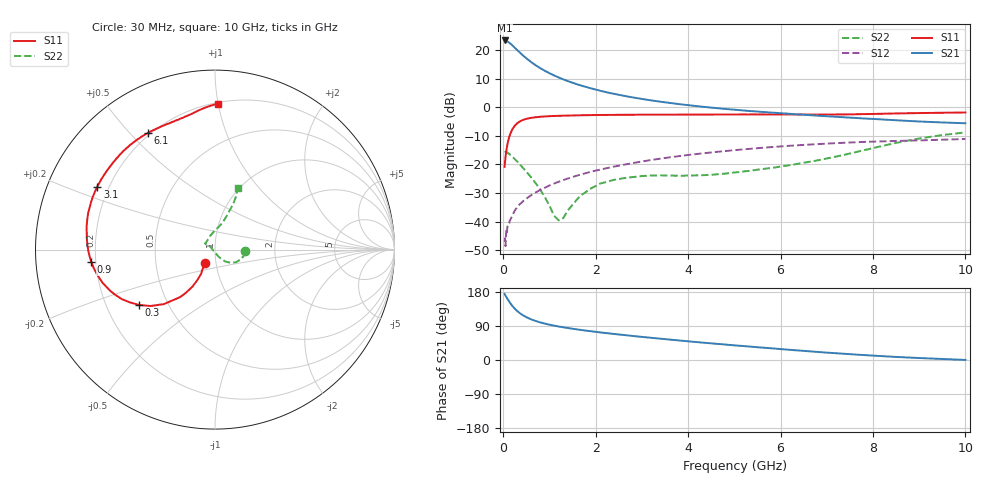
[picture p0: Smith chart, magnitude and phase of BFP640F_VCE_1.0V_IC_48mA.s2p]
! Infineon Technologies  Discrete & RF Semiconductors
! BFP640F
! VCE =  1.0 V,  IC =  48 mA
! Common Emitter S-Parameters:  Apr 2013
# GHz  S  MA  R  50
!  f  S11  S21  S12  S22
! GHz  MAG  ANG  MAG  ANG  MAG  ANG  MAG  ANG
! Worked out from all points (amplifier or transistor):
!   99 points, 30 MHz to 10 GHz, reference 50 ohm
!   highest |S21| = 23.4 dB at 30 MHz (marker M1)
!   |S21| within 3 dB of that: start of sweep to 280 MHz
!   unconditionally stable (mu >= 1): start of sweep to end of sweep
!   at 350 MHz: K = 1.89, MAG = 21.3 dB, |S12| = -34.1 dB
!   at 3.5 GHz: K = 1.52, MAG = 5.5 dB, |S12| = -17.7 dB
!   at 10 GHz: K = 1.32, MAG = -0.6 dB, |S12| = -11.1 dB
!   S11 on the Smith chart (normalised r, x): 30 MHz: 0.89, -0.13; 300 MHz: 0.34, -0.29; 900 MHz: 0.18, -0.05; 3.1 GHz: 0.16, +0.25; 6.1 GHz: 0.19, +0.56; 10 GHz: 0.21, +1.00
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0.03  0.0907 -126.3  14.85 174.2  0.0044 29.7  0.1652 -3.6
0.05  0.1351 -121.9  14.71 170.0  0.0037 31.3  0.1639 -7.8
0.09  0.2221 -120.9  14.22 161.6  0.0082 51.4  0.1605 -15.0
0.12  0.2836 -123.6  13.76 155.8  0.0091 53.9  0.1551 -19.7
0.15  0.3391 -127.3  13.15 150.4  0.0106 56.7  0.1474 -24.0
0.2  0.4165 -133.2  12.13 142.3  0.0128 60.9  0.1362 -30.9
0.3  0.5236 -143.9  10.15 129.6  0.0177 61.9  0.1133 -40.2
0.4  0.5892 -152.2  8.499 120.2  0.0215 62.7  0.0923 -47.3
0.5  0.6282 -158.7  7.229 113.1  0.0252 62.9  0.0745 -52.1
0.6  0.6539 -163.7  6.244 107.5  0.0287 63.4  0.06 -57.1
0.7  0.6707 -167.9  5.475 103.0  0.0322 64.5  0.0471 -61.2
0.9  0.6925 -174.4  4.365 96.0  0.0391 65.1  0.0268 -72.1
1.2  0.7102 178.4  3.333 88.4  0.0497 65.8  0.0105 -135.1
1.7  0.7271 169.5  2.391 79.0  0.0673 65.1  0.0294 149.3
2.3  0.7367 161.4  1.788 70.1  0.088 62.8  0.0511 149.8
3.1  0.7437 151.8  1.363 59.8  0.1159 58.7  0.0632 149.2
3.4  0.7449 148.3  1.256 56.3  0.1262 56.7  0.0644 148.3
5.1  0.75 130.0  0.895 37.7  0.1806 45.3  0.0735 118.3
6.1  0.7501 120.0  0.781 27.9  0.2096 38.1  0.0945 97.8
6.7  0.7483 113.3  0.724 22.2  0.2243 33.6  0.1138 86.4
8.5  0.7818 96.5  0.594 8.1  0.2575 21.2  0.2384 69.2
10  0.8124 89.0  0.526 0.2  0.2791 13.6  0.364 69.8
